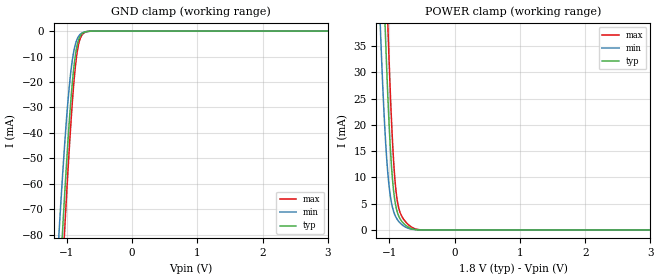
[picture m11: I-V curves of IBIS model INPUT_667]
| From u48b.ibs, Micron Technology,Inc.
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|MODEL INPUT_667  (Input model for 667 Mbps)
[Model]   INPUT_667
Model_type   Input
Vinl = 700.000mV
Vinh = 1.10V
|   typ   min   max
C_comp   1.35pF   1.16pF   1.54pF
[Model Spec]
| Input threshold voltage corners
Vinl   0.70V   0.650V   0.750V
Vinh   1.10V   1.05V   1.150V
[Receiver Thresholds]
Vth   =  0.900V
Vth_min  =  0.882V
Vth_max  =  0.918V
Vinh_ac  =  0.200V
Vinh_dc  =  0.125V
Vinl_ac  = -0.200V
Vinl_dc  = -0.125V
Tslew_ac =  5.000ns |Not specified, so set to high value
Threshold_sensitivity = 0.50
Reference_supply Pullup_ref
[Voltage Range]   1.800V   1.700V   1.900V
[Pullup Reference]   1.800V   1.700V   1.900V
| Junction Temperature (Ambient temp is 25C typ, 85C min, 0C max)
[Temperature Range]   40.0   100.0   0.0
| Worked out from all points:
|   GND clamp passes 1 mA (typ) near -0.77 V on its own axis
|   POWER clamp passes 1 mA (typ) near -0.76 V on its own axis
[GND Clamp]
|   Voltage   I(typ)   I(min)   I(max)
-1.8V     -463.7mA   -419.6mA   -496.5mA
-1.125V   -106.1mA   -81.27mA   -123.5mA
-1.115V   -101.3mA   -76.96mA   -118.4mA
-1.065V   -77.99mA   -56.32mA   -93.27mA
-1.035V   -64.61mA   -44.88mA   -78.71mA
-955mV    -32.61mA   -19.69mA   -42.78mA
-915mV    -19.86mA   -11.16mA   -27.46mA
-885mV    -12.44mA   -6.804mA   -17.92mA
-835mV    -4.74mA    -2.719mA   -7.092mA
-765mV    -971.9uA   -687.4uA   -1.414mA
-595mV    -14.03uA   -20.16uA   -13.34uA
3.6V      0A         0A         0A
[POWER Clamp]
|   Voltage   I(typ)   I(min)   I(max)
-1.8V     384.3mA    337.6mA    413.9mA
-1.145V   69.53mA    40.76mA    89.27mA
-1.135V   65.43mA    37.49mA    84.82mA
-1.065V   38.75mA    18.31mA    55.02mA
-1.025V   25.84mA    11.02mA    39.55mA
-975mV    13.52mA    5.679mA    22.95mA
-945mV    8.629mA    3.943mA    15.2mA
-915mV    5.509mA    2.846mA    9.583mA
-855mV    2.593mA    1.597mA    4.107mA
-765mV    1.04mA     635.6uA    1.753mA
-485mV    5.046uA    4.542uA    11.31uA
3.6V      0A         0A         0A
